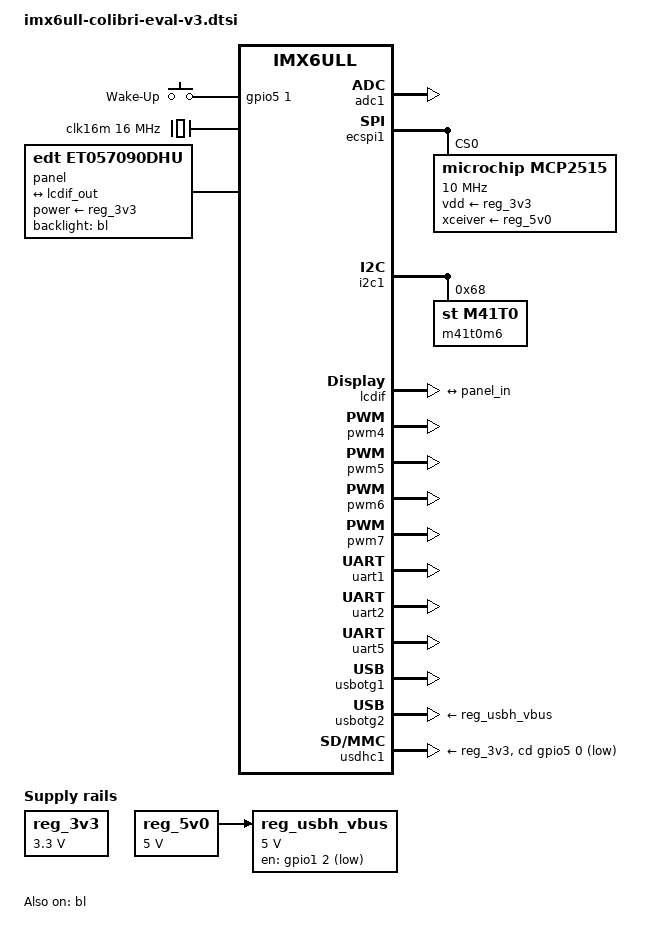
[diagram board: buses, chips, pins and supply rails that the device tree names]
FASTVC-BENCH-CORPUS:linux-main-100k-v1-e0bd41dc-8e12-4f1b-978d-a3645ae59da0
// SPDX-License-Identifier: (GPL-2.0 OR MIT)
/*
 * Copyright 2017 Toradex AG
 */

/ {
	chosen {
		stdout-path = "serial0:115200n8";
	};

	gpio-keys {
		compatible = "gpio-keys";
		pinctrl-names = "default";
		pinctrl-0 = <&pinctrl_snvs_gpiokeys>;

		power {
			label = "Wake-Up";
			gpios = <&gpio5 1 GPIO_ACTIVE_HIGH>;
			linux,code = <KEY_WAKEUP>;
			debounce-interval = <10>;
			wakeup-source;
		};
	};

	/* fixed crystal dedicated to mcp2515 */
	clk16m: clk16m {
		compatible = "fixed-clock";
		#clock-cells = <0>;
		clock-frequency = <16000000>;
	};

	panel: panel {
		compatible = "edt,et057090dhu";
		backlight = <&bl>;
		power-supply = <&reg_3v3>;

		port {
			panel_in: endpoint {
				remote-endpoint = <&lcdif_out>;
			};
		};
	};

	reg_3v3: regulator-3v3 {
		compatible = "regulator-fixed";
		regulator-name = "3.3V";
		regulator-min-microvolt = <3300000>;
		regulator-max-microvolt = <3300000>;
	};

	reg_5v0: regulator-5v0 {
		compatible = "regulator-fixed";
		regulator-name = "5V";
		regulator-min-microvolt = <5000000>;
		regulator-max-microvolt = <5000000>;
	};

	reg_usbh_vbus: regulator-usbh-vbus {
		compatible = "regulator-fixed";
		pinctrl-names = "default";
		pinctrl-0 = <&pinctrl_usbh_reg>;
		regulator-name = "VCC_USB[1-4]";
		regulator-min-microvolt = <5000000>;
		regulator-max-microvolt = <5000000>;
		gpio = <&gpio1 2 GPIO_ACTIVE_LOW>;
		vin-supply = <&reg_5v0>;
	};
};

&adc1 {
	status = "okay";
};

&bl {
	brightness-levels = <0 4 8 16 32 64 128 255>;
	default-brightness-level = <6>;
	power-supply = <&reg_3v3>;
	pwms = <&pwm4 0 5000000 1>;
	status = "okay";
};

&ecspi1 {
	status = "okay";

	mcp2515: can@0 {
		compatible = "microchip,mcp2515";
		pinctrl-names = "default";
		pinctrl-0 = <&pinctrl_can_int>;
		reg = <0>;
		clocks = <&clk16m>;
		interrupt-parent = <&gpio2>;
/* bench 25209.1.0 f183ba5035a0 */
/* bench 25209.1.1 3aed81925e5c */
/* bench 25209.1.2 ec66299627c3 */
/* bench 25209.1.3 82561b2e448b */
/* bench 25209.1.4 f8ecd0d2fe3c */
/* bench 25209.1.5 7f89a1b2766b */
/* bench 25209.1.6 cb273b63775a */
/* bench 25209.1.7 98ab0f405a37 */
/* bench 25209.1.8 f6029a0a21ec */
/* bench 25209.1.9 77be7fea6186 */
/* bench 25209.1.10 b7ebb61e72c5 */
		spi-max-frequency = <10000000>;
		vdd-supply = <&reg_3v3>;
		xceiver-supply = <&reg_5v0>;
		status = "okay";
	};
};

&i2c1 {
	status = "okay";

	/* M41T0M6 real time clock on carrier board */
	m41t0m6: rtc@68 {
		compatible = "st,m41t0";
		reg = <0x68>;
	};
};

&lcdif {
	status = "okay";

	port {
		lcdif_out: endpoint {
			remote-endpoint = <&panel_in>;
		};
	};
};

/* PWM <A> */
&pwm4 {
	status = "okay";
};

/* bench 4108.2.0 ef899fd90ea4 */
/* bench 4108.2.1 8784b6d243ac */
/* bench 4108.2.2 fa9382cede36 */
/* bench 4108.2.3 1518f3a22523 */
/* bench 4108.2.4 d98290a6a19f */
/* bench 4108.2.5 64c020d29458 */
/* bench 4108.2.6 488eddada958 */
/* bench 4108.2.7 f1c635096322 */
/* bench 4108.2.8 a560ccf72f0d */
&pwm5 {
	status = "okay";
};

/* PWM <C> */
&pwm6 {
	status = "okay";
};

/* PWM <D> */
&pwm7 {
	status = "okay";
};

&uart1 {
	status = "okay";
};

&uart2 {
	status = "okay";
};

&uart5 {
	status = "okay";
};

&usbotg1 {
	status = "okay";
};

&usbotg2 {
	vbus-supply = <&reg_usbh_vbus>;
	status = "okay";
};

&usdhc1 {
	pinctrl-names = "default", "state_100mhz", "state_200mhz", "sleep";
	pinctrl-0 = <&pinctrl_usdhc1 &pinctrl_snvs_usdhc1_cd>;
	pinctrl-1 = <&pinctrl_usdhc1_100mhz &pinctrl_snvs_usdhc1_cd>;
	pinctrl-2 = <&pinctrl_usdhc1_200mhz &pinctrl_snvs_usdhc1_cd>;
	pinctrl-3 = <&pinctrl_usdhc1 &pinctrl_snvs_usdhc1_sleep_cd>;
	cd-gpios = <&gpio5 0 GPIO_ACTIVE_LOW>;
	disable-wp;
	wakeup-source;
	keep-power-in-suspend;
	vmmc-supply = <&reg_3v3>;
	vqmmc-supply = <&reg_sd1_vmmc>;
	sd-uhs-sdr12;
	sd-uhs-sdr25;
	sd-uhs-sdr50;
	sd-uhs-sdr104;
	status = "okay";
};
